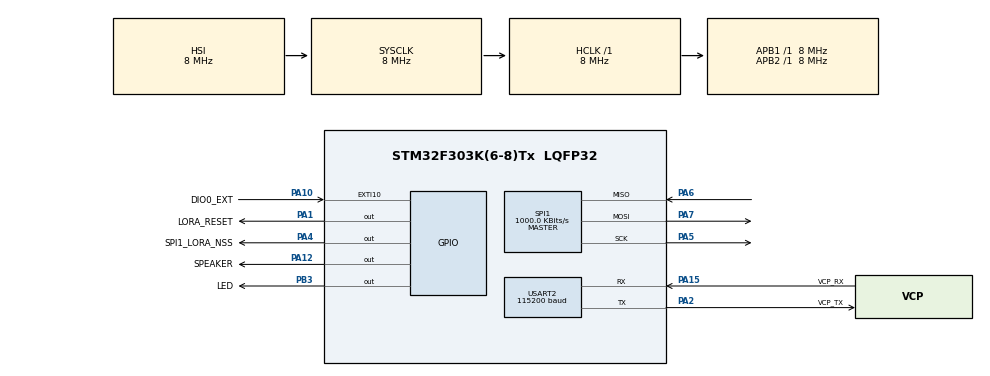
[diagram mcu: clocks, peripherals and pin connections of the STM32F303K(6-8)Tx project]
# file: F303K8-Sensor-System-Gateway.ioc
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Mcu.Family=STM32F3
Mcu.Name=STM32F303K(6-8)Tx
Mcu.Package=LQFP32
NVIC.EXTI15_10_IRQn=true\:0\:0\:false\:false\:true\:true\:true\:true
NVIC.PriorityGroup=NVIC_PRIORITYGROUP_4
NVIC.USART2_IRQn=true\:0\:0\:false\:false\:true\:true\:true\:true
PA1.GPIO_Label=LORA_RESET
PA1.PinState=GPIO_PIN_SET
PA1.Signal=GPIO_Output
PA10.GPIO_Label=DIO0_EXT
PA10.Signal=GPXTI10
PA12.GPIO_Label=SPEAKER
PA12.Signal=GPIO_Output
PA13.GPIO_Label=SWDIO
PA13.Signal=SYS_JTMS-SWDIO
PA14.GPIO_Label=SWCLK
PA14.Signal=SYS_JTCK-SWCLK
PA15.GPIO_Label=VCP_RX
PA15.Mode=Asynchronous
PA15.Signal=USART2_RX
PA2.GPIO_Label=VCP_TX
PA2.Mode=Asynchronous
PA2.Signal=USART2_TX
PA4.GPIO_Label=SPI1_LORA_NSS
PA4.PinState=GPIO_PIN_SET
PA4.Signal=GPIO_Output
PA5.Mode=Full_Duplex_Master
PA5.Signal=SPI1_SCK
PA6.Mode=Full_Duplex_Master
PA6.Signal=SPI1_MISO
PA7.Mode=Full_Duplex_Master
PA7.Signal=SPI1_MOSI
PB3.GPIO_Label=LED
PB3.Signal=GPIO_Output
PF0\ /\ OSC_IN.GPIO_Label=MCO
PF0\ /\ OSC_IN.Signal=RCC_OSC_IN
ProjectManager.HeapSize=0x200
ProjectManager.StackSize=0x400
ProjectManager.TargetToolchain=STM32CubeIDE
RCC.AHBFreq_Value=8000000
RCC.APB1Freq_Value=8000000
RCC.APB2Freq_Value=8000000
RCC.CortexFreq_Value=8000000
RCC.HSE_VALUE=8000000
RCC.HSI_VALUE=8000000
RCC.SYSCLKFreq_VALUE=8000000
SPI1.BaudRatePrescaler=SPI_BAUDRATEPRESCALER_8
SPI1.CalculateBaudRate=1000.0 KBits/s
SPI1.DataSize=SPI_DATASIZE_8BIT
SPI1.Direction=SPI_DIRECTION_2LINES
SPI1.Mode=SPI_MODE_MASTER
SPI1.VirtualType=VM_MASTER
USART2.BaudRate=115200
USART2.VirtualMode-Asynchronous=VM_ASYNC
board=NUCLEO-F303K8

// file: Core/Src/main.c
/* USER CODE BEGIN Header */
/**
  ******************************************************************************
  * @file           : main.c
  * @brief          : Main program body
  ******************************************************************************
  * @attention
  *
  * Copyright (c) 2024 STMicroelectronics.
  * All rights reserved.
  *
  * This software is licensed under terms that can be found in the LICENSE file
  * in the root directory of this software component.
  * If no LICENSE file comes with this software, it is provided AS-IS.
  *
  ******************************************************************************
  * Pinouts:
  * PA7 / A6 SPI MOSI
  * PA6 / A5 SPI MISO
  * PA5 / A4 SPI CLK
  * PA4 / A3 SPI NSS (GPIO HIGH ON START)
  * PA1 / A1 RESET
  * PA10/ D0 DIO0 Interrupt In.
  *
  * PA12/D2 For an attached speaker (dirty digital pulse only)
  */
/* USER CODE END Header */
#include "main.h"

/* USER CODE BEGIN Includes */
#include <string.h>
#include <stdio.h>
#include "lora_sx1276.h"
/* USER CODE END Includes */

SPI_HandleTypeDef hspi1;

UART_HandleTypeDef huart2;

/* USER CODE BEGIN PV */

uint8_t inputReceived = 0;

/* USER CODE END PV */

void SystemClock_Config(void);
static void MX_GPIO_Init(void);
static void MX_USART2_UART_Init(void);
static void MX_SPI1_Init(void);
/* USER CODE BEGIN PFP */

uint8_t inputBuffer[5];

/* USER CODE END PFP */

/* USER CODE BEGIN 0 */

int bufferReady = 0;
uint8_t rxCommandBuffer[7]; //6 char commands + eol
volatile uint8_t rxCommandBufferIndex = 0;
uint8_t rxChar;
volatile uint8_t serialRecieved = 0;

uint8_t loRaRXBuffer[64];
volatile uint8_t loRaRXBufferStatus = 0; //1 is good and ready to read.

/*
 * Commands:
 * GET T	(Get temperature)
 * GSYNC	(Ask GPS TO Sync time)
 * RES S	(Reset System)
 * RES G	(Reset GPS Module)
 * GET L	(Download log)
 * GET S1	(Get last sensor 1 value)
 * GET S2	(Get last sensor 2 value)
 * INF		(Current system health and status)
 * PING		(Lora comms test)
 * */

lora_sx1276 lora;

/* USER CODE END 0 */

int main(void)
{

  /* MCU Configuration--------------------------------------------------------*/

  /* Reset of all peripherals, Initializes the Flash interface and the Systick. */
  HAL_Init();

  /* Configure the system clock */
  SystemClock_Config();

  /* Initialize all configured peripherals */
  MX_GPIO_Init();
  MX_USART2_UART_Init();
  MX_SPI1_Init();
  /* USER CODE BEGIN 2 */

  //HAL_USART_Transmit(&husart2, (uint8_t *)"Starting!\r\n", 11U, 100U);

  // SX1276 compatible module connected to SPI?, NSS pin connected to GPIO with label LORA_NSS
  uint8_t res = lora_init(&lora, &hspi1, SPI1_LORA_NSS_GPIO_Port, SPI1_LORA_NSS_Pin, LORA_BASE_FREQUENCY_US);

  if (res != LORA_OK) {
	DebugOutput("RFM95 init failed ", res);
  } else {
	DebugOutput("RFM95 init success ", res);
  }

  /* USER CODE END 2 */

  /* Infinite loop */
  /* USER CODE BEGIN WHILE */

  HAL_GPIO_WritePin(LED_GPIO_Port, LED_Pin, GPIO_PIN_SET);

  sendIntroduction();
  sendCommandPrompt();

  HAL_UART_Receive_IT(&huart2, &rxChar, 1);

  lora_enable_interrupt_rx_done(&lora);
  lora_mode_receive_continuous(&lora); //if receive once, make sure this is set again

  while (1)
  {
	if (serialRecieved == 1){

		//filter allowed keys
		if (rxChar == 13 || rxChar == 127 || rxChar == 32 || rxChar == 63 || ( rxChar >= 48 && rxChar <= 57 ) || (rxChar >= 65 && rxChar <= 90) || (rxChar >= 97 && rxChar <= 122)){

			if (rxChar == 13){
				processCommand();
				rxCommandBufferIndex = 0;
				rxCommandBuffer[rxCommandBufferIndex] = '\0';
				//sendCommandPrompt();
			} else if (rxChar == 127){
				if (rxCommandBufferIndex > 0) {
					rxCommandBufferIndex--;
					rxCommandBuffer[rxCommandBufferIndex] = '\0';
					//rxChar = rxCommandBuffer[rxCommandBufferIndex];
					HAL_UART_Transmit(&huart2, &rxChar, 1U, 10U);
				}
			} else {
				if (rxCommandBufferIndex < 6){
					rxCommandBuffer[rxCommandBufferIndex] = rxChar;
					rxCommandBuffer[rxCommandBufferIndex+1] = '\0';
					rxCommandBufferIndex++;
					HAL_UART_Transmit(&huart2, &rxChar, 1U, 10U);
				}
			}

		}

		serialRecieved = 0;
	}

	// Receive buffer
	if (loRaRXBufferStatus == 1){
		HAL_UART_Transmit(&huart2, (uint8_t*)"\r\n", 2U, 10U);
		DebugOutput("===========> System ACK Received loRaRXBufferStatus: ", loRaRXBufferStatus);

		HAL_UART_Transmit(&huart2, (uint8_t*)loRaRXBuffer, strlen((char*)loRaRXBuffer), 10U);
		HAL_UART_Transmit(&huart2, (uint8_t*)"\r\n", 2U, 10U);

		memset(loRaRXBuffer, '\0', sizeof(loRaRXBuffer));
		sendCommandPrompt();
		loRaRXBufferStatus = 0; //clear: ready for interrupt to accept the next LoRa packet.
	}

    /* USER CODE END WHILE */

  }
}

void SystemClock_Config(void)
{
  RCC_OscInitTypeDef RCC_OscInitStruct = {0};
  RCC_ClkInitTypeDef RCC_ClkInitStruct = {0};

  /** Initializes the RCC Oscillators according to the specified parameters
  * in the RCC_OscInitTypeDef structure.
  */
  RCC_OscInitStruct.OscillatorType = RCC_OSCILLATORTYPE_HSI;
  RCC_OscInitStruct.HSIState = RCC_HSI_ON;
  RCC_OscInitStruct.HSICalibrationValue = RCC_HSICALIBRATION_DEFAULT;
  RCC_OscInitStruct.PLL.PLLState = RCC_PLL_NONE;
  if (HAL_RCC_OscConfig(&RCC_OscInitStruct) != HAL_OK)
  {
    Error_Handler();
  }

  /** Initializes the CPU, AHB and APB buses clocks
  */
  RCC_ClkInitStruct.ClockType = RCC_CLOCKTYPE_HCLK|RCC_CLOCKTYPE_SYSCLK
                              |RCC_CLOCKTYPE_PCLK1|RCC_CLOCKTYPE_PCLK2;
  RCC_ClkInitStruct.SYSCLKSource = RCC_SYSCLKSOURCE_HSI;
  RCC_ClkInitStruct.AHBCLKDivider = RCC_SYSCLK_DIV1;
  RCC_ClkInitStruct.APB1CLKDivider = RCC_HCLK_DIV1;
  RCC_ClkInitStruct.APB2CLKDivider = RCC_HCLK_DIV1;

  if (HAL_RCC_ClockConfig(&RCC_ClkInitStruct, FLASH_LATENCY_0) != HAL_OK)
  {
    Error_Handler();
  }
}

static void MX_SPI1_Init(void)
{

  /* SPI1 parameter configuration*/
  hspi1.Instance = SPI1;
  hspi1.Init.Mode = SPI_MODE_MASTER;
  hspi1.Init.Direction = SPI_DIRECTION_2LINES;
  hspi1.Init.DataSize = SPI_DATASIZE_8BIT;
  hspi1.Init.CLKPolarity = SPI_POLARITY_LOW;
  hspi1.Init.CLKPhase = SPI_PHASE_1EDGE;
  hspi1.Init.NSS = SPI_NSS_SOFT;
  hspi1.Init.BaudRatePrescaler = SPI_BAUDRATEPRESCALER_8;
  hspi1.Init.FirstBit = SPI_FIRSTBIT_MSB;
  hspi1.Init.TIMode = SPI_TIMODE_DISABLE;
  hspi1.Init.CRCCalculation = SPI_CRCCALCULATION_DISABLE;
  hspi1.Init.CRCPolynomial = 7;
  hspi1.Init.CRCLength = SPI_CRC_LENGTH_DATASIZE;
  hspi1.Init.NSSPMode = SPI_NSS_PULSE_ENABLE;
  if (HAL_SPI_Init(&hspi1) != HAL_OK)
  {
    Error_Handler();
  }

}

static void MX_USART2_UART_Init(void)
{

  huart2.Instance = USART2;
  huart2.Init.BaudRate = 115200;
  huart2.Init.WordLength = UART_WORDLENGTH_8B;
  huart2.Init.StopBits = UART_STOPBITS_1;
  huart2.Init.Parity = UART_PARITY_NONE;
  huart2.Init.Mode = UART_MODE_TX_RX;
  huart2.Init.HwFlowCtl = UART_HWCONTROL_NONE;
  huart2.Init.OverSampling = UART_OVERSAMPLING_16;
  huart2.Init.OneBitSampling = UART_ONE_BIT_SAMPLE_DISABLE;
  huart2.AdvancedInit.AdvFeatureInit = UART_ADVFEATURE_NO_INIT;
  if (HAL_UART_Init(&huart2) != HAL_OK)
  {
    Error_Handler();
  }

}

static void MX_GPIO_Init(void)
{
  GPIO_InitTypeDef GPIO_InitStruct = {0};

  /* GPIO Ports Clock Enable */
  __HAL_RCC_GPIOF_CLK_ENABLE();
  __HAL_RCC_GPIOA_CLK_ENABLE();
  __HAL_RCC_GPIOB_CLK_ENABLE();

  /*Configure GPIO pin Output Level */
  HAL_GPIO_WritePin(GPIOA, LORA_RESET_Pin|SPI1_LORA_NSS_Pin, GPIO_PIN_SET);

  /*Configure GPIO pin Output Level */
  HAL_GPIO_WritePin(SPEAKER_GPIO_Port, SPEAKER_Pin, GPIO_PIN_RESET);

  /*Configure GPIO pin Output Level */
  HAL_GPIO_WritePin(LED_GPIO_Port, LED_Pin, GPIO_PIN_RESET);

  /*Configure GPIO pins : LORA_RESET_Pin SPI1_LORA_NSS_Pin SPEAKER_Pin */
  GPIO_InitStruct.Pin = LORA_RESET_Pin|SPI1_LORA_NSS_Pin|SPEAKER_Pin;
  GPIO_InitStruct.Mode = GPIO_MODE_OUTPUT_PP;
  GPIO_InitStruct.Pull = GPIO_NOPULL;
  GPIO_InitStruct.Speed = GPIO_SPEED_FREQ_LOW;
  HAL_GPIO_Init(GPIOA, &GPIO_InitStruct);

  /*Configure GPIO pin : DIO0_EXT_Pin */
  GPIO_InitStruct.Pin = DIO0_EXT_Pin;
  GPIO_InitStruct.Mode = GPIO_MODE_IT_RISING;
  GPIO_InitStruct.Pull = GPIO_NOPULL;
  HAL_GPIO_Init(DIO0_EXT_GPIO_Port, &GPIO_InitStruct);

  /*Configure GPIO pin : LED_Pin */
  GPIO_InitStruct.Pin = LED_Pin;
  GPIO_InitStruct.Mode = GPIO_MODE_OUTPUT_PP;
  GPIO_InitStruct.Pull = GPIO_NOPULL;
  GPIO_InitStruct.Speed = GPIO_SPEED_FREQ_LOW;
  HAL_GPIO_Init(LED_GPIO_Port, &GPIO_InitStruct);

  /* EXTI interrupt init*/
  HAL_NVIC_SetPriority(EXTI15_10_IRQn, 0, 0);
  HAL_NVIC_EnableIRQ(EXTI15_10_IRQn);

}

/* USER CODE BEGIN 4 */

void DebugOutput(const char *message, int16_t number){
	//max: 93 message chars, 5 number chars, 2 lf/cr
	char buffer[100];
	snprintf(buffer, sizeof(buffer), "%s%d\r\n", message, number);

	int length = strlen(buffer);
	HAL_UART_Transmit(&huart2, (uint8_t *)buffer, length, 10U);

}

void processCommand(){
	if (strcmp((const char *)rxCommandBuffer, "?") == 0 || strcmp((const char *)rxCommandBuffer, "help") == 0){
		sendCommandHelp();
	}

	if (strcmp((const char *)rxCommandBuffer, "ping") == 0){
		HAL_UART_Transmit(&huart2, (uint8_t *)"\r\n", 2U, 10U);
		HAL_UART_Transmit(&huart2, rxCommandBuffer, strlen((const char *)rxCommandBuffer), 10U);
		HAL_UART_Transmit(&huart2, (uint8_t *)"\r\n", 2U, 10U);

		//uint8_t res = lora_send_packet(&lora, (uint8_t *)"PING!", 5);
		uint8_t res = lora_send_packet_blocking(&lora, (uint8_t *)"PING", 4U, 1000U);

		if (res != LORA_OK) {
			HAL_UART_Transmit(&huart2, (uint8_t *)"Send to Sensor System Failed\n\r", 30U, 100U);
			DebugOutput("ERROR IS: ", res);
			uint8_t resetResult = lora_init(&lora, &hspi1, SPI1_LORA_NSS_GPIO_Port, SPI1_LORA_NSS_Pin, LORA_BASE_FREQUENCY_US);
			DebugOutput("RESET RESULT: ", resetResult);
		} else {
			HAL_UART_Transmit(&huart2, (uint8_t *)"Send to Sensor System Success\n\r", 31U, 100U);
		}

		lora_mode_receive_continuous(&lora);
		HAL_Delay(2000);
	}

	if (strcmp((const char *)rxCommandBuffer, "get s1") == 0){
		HAL_UART_Transmit(&huart2, (uint8_t *)"\r\n", 2U, 10U);
		HAL_UART_Transmit(&huart2, rxCommandBuffer, strlen((const char *)rxCommandBuffer), 10U);
		HAL_UART_Transmit(&huart2, (uint8_t *)"\r\n", 2U, 10U);

		uint8_t res = lora_send_packet_blocking(&lora, (uint8_t *)"GET S1", 6U, 1000U);

		if (res != LORA_OK) {
			DebugOutput("ERROR IS: ", res);
		} else {
			DebugOutput("GET S1 to Sensor System sent ", res);
		}

		lora_mode_receive_continuous(&lora);
		HAL_Delay(2000);
	}

	if (strcmp((const char *)rxCommandBuffer, "get l") == 0){
		HAL_UART_Transmit(&huart2, (uint8_t *)"\r\n", 2U, 10U);
		HAL_UART_Transmit(&huart2, rxCommandBuffer, strlen((const char *)rxCommandBuffer), 10U);
		HAL_UART_Transmit(&huart2, (uint8_t *)"\r\n", 2U, 10U);

		uint8_t res = lora_send_packet_blocking(&lora, (uint8_t *)"GET L", 5U, 1000U);

		if (res != LORA_OK) {
			DebugOutput("ERROR IS: ", res);
		} else {
			DebugOutput("LOG request sent ", res);
		}

		lora_mode_receive_continuous(&lora);
		HAL_Delay(2000);
	}

	if (strcmp((const char *)rxCommandBuffer, "res g") == 0){
		HAL_UART_Transmit(&huart2, (uint8_t *)"\r\n", 2U, 10U);
		HAL_UART_Transmit(&huart2, rxCommandBuffer, strlen((const char *)rxCommandBuffer), 10U);
		HAL_UART_Transmit(&huart2, (uint8_t *)"\r\n", 2U, 10U);

		uint8_t res = lora_send_packet_blocking(&lora, (uint8_t *)"RES G", 5U, 1000U);

		if (res != LORA_OK) {
			DebugOutput("ERROR IS: ", res);
		} else {
			DebugOutput("GPS reset request sent. ", res);
		}

		lora_mode_receive_continuous(&lora);
		HAL_Delay(2000);
	}

	sendCommandPrompt();
}

void HAL_GPIO_EXTI_Callback(uint16_t GPIO_Pin){

	if (GPIO_Pin == DIO0_EXT_Pin){

		if (loRaRXBufferStatus == 1)
			return; //don't accept another packet until the first is taken and processed.

		uint8_t len = lora_receive_packet(&lora, loRaRXBuffer, sizeof(loRaRXBuffer), NULL); //no storing error info yet

		if (len > 0) {
			loRaRXBufferStatus = 1;
		}

		//lora_clear_interrupt_rx_all(&lora);
	}
}

void sendIntroduction(){
	uint8_t introduction[] = "\r\n-----------------------------\r\n"
							 "\x1b[1;31mSensor System Gateway v1.0   \r\n"
							 "\x1b[1;37mtype: help or ? for commands.\r\n"
							 "-----------------------------\r\n\r\n";
	HAL_UART_Transmit(&huart2, introduction, strlen((const char *)introduction), 20U);
}

void sendCommandHelp(){
	uint8_t help[] ="\r\n\r\nCommands:\r\n"
  				    "\x1b[1;37mGET T  \t \x1b[1;32m(Get temperature)\r\n"
				    "\x1b[1;37mGSYNC  \t \x1b[1;32m(Ask GPS to Sync time)\r\n"
				    "\x1b[1;37mRES S  \t \x1b[1;32m(Reset System)\r\n"
				    "\x1b[1;37mRES G  \t \x1b[1;32m(Reset GPS Module)\r\n"
				    "\x1b[1;37mGET L  \t \x1b[1;32m(Download log)\r\n"
					"\x1b[1;37mGET S1 \t \x1b[1;32m(Get last sensor 1 value)\r\n"
					"\x1b[1;37mGET S2 \t \x1b[1;32m(Get last sensor 2 value)\r\n"
					"\x1b[1;37mINF    \t \x1b[1;32m(Current system health and status)\r\n"
					"\x1b[1;37mPING   \t \x1b[1;32m(LoRa comms test)\r\n"
					"\x1b[1;37m";

	HAL_UART_Transmit(&huart2, help, strlen((const char *)help), 40U);
}

void sendCommandPrompt(){
	HAL_UART_Transmit(&huart2, (uint8_t *)"COMMAND>", 8U, 10U);
}

void HAL_UART_RxCpltCallback(UART_HandleTypeDef *huart){
	if (serialRecieved == 1){
		return;
	}
	if (huart->Instance == USART2){
		//echo back
		//HAL_USART_Transmit(&husart2, &RX_Char, 1, 10);
		//HAL_USART_Transmit(&husart2, &rxBuffer, 10, 10);
		//new line for each carriage return.
		//if (RX_Char == 13){
			//HAL_USART_Transmit(&husart2, (uint8_t *)"\n", 1, 10);
		//}
		serialRecieved = 1;
		HAL_GPIO_TogglePin(LED_GPIO_Port, LED_Pin);
		HAL_UART_Receive_IT(huart, &rxChar, 1);
	}

}

/* USER CODE END 4 */

void Error_Handler(void)
{
  __disable_irq();
  while (1)
  {
  }
}
